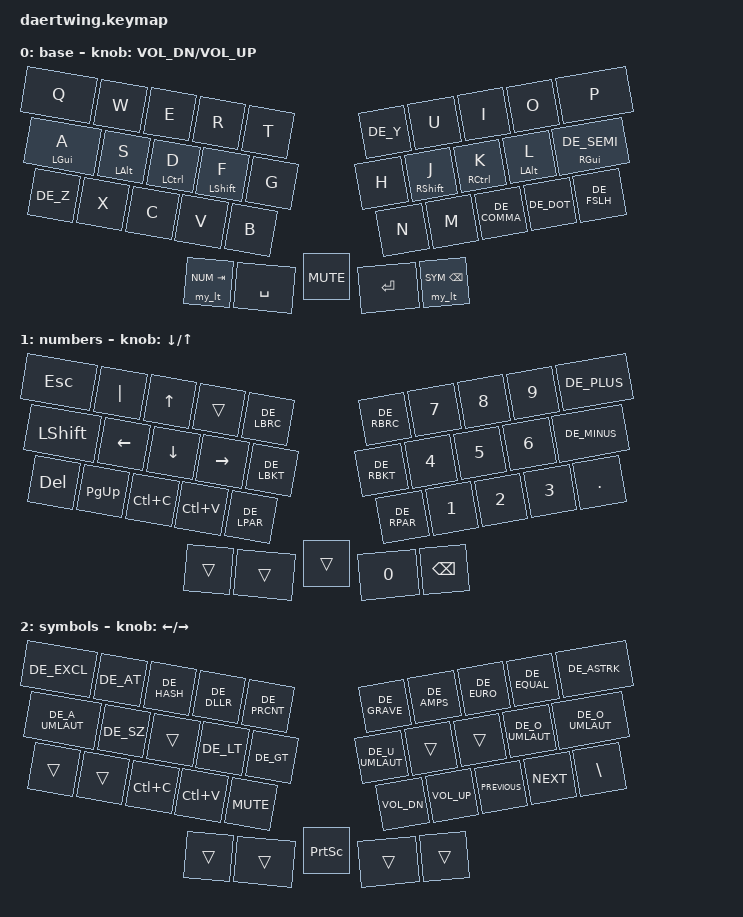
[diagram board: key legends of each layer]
#include <behaviors.dtsi>
#include <dt-bindings/zmk/keys.h>
#include <locale/keys_de.h>

#define BASE 0
#define NUM  1
#define SYM  2

&caps_word {
    continue-list = <UNDERSCORE MINUS BSPC LSHFT RSHFT>;
};

/ {
    macros {
        macro_shiftable_sch: macro_shiftable_sch {
            compatible = "zmk,behavior-macro";
            #binding-cells = <0>;
            bindings = <
                    &macro_tap &kp S
                    &macro_release &kp RSHIFT
                    &macro_tap &kp C &kp H
            >;
            tap-ms = <10>;
        };
    };
};


#define COMBO(NAME, BINDINGS, KEYPOS) \
combo_##NAME { \
    timeout-ms = <20>; \
    bindings = <BINDINGS>; \
    key-positions = <KEYPOS>; \
};
#define SLOWCOMBO(NAME, BINDINGS, KEYPOS) \
combo_##NAME { \
    timeout-ms = <60>; \
    bindings = <BINDINGS>; \
    key-positions = <KEYPOS>; \
};
#define TCOMBO(NAME, BINDINGS, KEYPOS, TIMEOUT) \
combo_##NAME { \
    timeout-ms = <TIMEOUT>; \
    bindings = <BINDINGS>; \
    key-positions = <KEYPOS>; \
};

//  _______________________________________________________________________________
// |_    00  \  01  \  02  \  03  \  04  \   /  05  /  06  /  07  /  08  /  09    _|
//   |_   10  |  11  |  12  |  13  |  14  | |  15  |  16  |  17  |  18  |  19   _|
//     | 20  /  21  /  22  /  23  /  24  /   \  25  \  26  \  27  \  28  \  29 |
//      -------------------|  30  |  31 | ENC | 33  |  34  |-------------------
//                                         32

/{
    combos {
        compatible = "zmk,combos";
/* usually on base layer */
        COMBO(boot, &bootloader, 0 9)
        COMBO(ESC, &kp ESC, 0 1)
        SLOWCOMBO(AMPS, &kp DE_AMPS, 4 14)
        COMBO(CAPS, &caps_word, 10 19)
        COMBO(shiftablesch, &macro_shiftable_sch, 1 3)
        SLOWCOMBO(pipe, &kp DE_PIPE, 5 15)
        COMBO(singlequote, &kp DE_SQT, 7 8)
        COMBO(doublequote, &kp DE_DQT, 8 9)
        COMBO(symlayer, &sl SYM, 10 11)
        COMBO(plus, &kp DE_PLUS, 16 17)
        COMBO(minus, &kp DE_MINUS, 17 18)
        SLOWCOMBO(underscore, &kp DE_UNDER, 16 17 18)
        SLOWCOMBO(delete, &kp DEL, 20 21)
        SLOWCOMBO(backslash, &kp DE_BSLH, 26 27)
        SLOWCOMBO(equal, &kp DE_EQUAL, 27 28)
        SLOWCOMBO(questionmark, &kp DE_QMARK, 28 29)
        SLOWCOMBO(enter, &kp ENTER, 16 18)
/* whitespace etc */
        // COMBO(tab, &kp TAB, 5 6)
        // COMBO(esc, &kp ESC, 22 23)
        // COMBO(enter, &kp ENTER, 26 28)
/* deletion */
        // COMBO(bspc, &kp BSPC, 6 7)
        // SLOWCOMBO(del, &kp DEL, 7 8)
        COMBO(delword, &kp LC(BSPC), 18 19)
/* special shifting */
        // COMBO(loss, &sk LSFT, 11 13)
        // COMBO(ross, &sk RSFT, 16 18)
        // COMBO(capslock, &kp CAPSLOCK, 1 8)
/* Studio Unlock */
        COMBO(studiounlock, &studio_unlock, 9 19)
    };
};

//  _______________________________________________________________________________
// |_    00  \  01  \  02  \  03  \  04  \   /  05  /  06  /  07  /  08  /  09    _|
//   |_   10  |  11  |  12  |  13  |  14  | |  15  |  16  |  17  |  18  |  19   _|
//     | 20  /  21  /  22  /  23  /  24  /   \  25  \  26  \  27  \  28  \  29 |
//      -------------------|  30  |  31 | ENC | 32  |  33  |-------------------

/ {
    behaviors {
        hl: homerow_mods_left {
            compatible = "zmk,behavior-hold-tap";
            #binding-cells = <2>;
            flavor = "balanced";
            tapping-term-ms = <150>;
            quick-tap-ms = <100>;
            bindings = <&kp>, <&kp>;
            // opposite side hand keys
            hold-trigger-key-positions = <5 6 7 8 9 15 16 17 18 19 25 26 27 28 29 30 31 32 33>;
        };
        hr: homerow_mods_right {
            compatible = "zmk,behavior-hold-tap";
            #binding-cells = <2>;
            flavor = "balanced";
            tapping-term-ms = <150>;
            quick-tap-ms = <100>;
            bindings = <&kp>, <&kp>;
            // opposite side hand keys
            hold-trigger-key-positions = <0 1 2 3 4 10 11 12 13 14 20 21 22 23 24 30 31 32 33>;
        };

         my_lt: my_layer_taps {
            compatible = "zmk,behavior-hold-tap";
            #binding-cells = <2>;
            flavor = "tap-preferred";
            tapping-term-ms = <160>;
            quick-tap-ms = <100>;
            bindings = <&mo &kp>, <&kp>;
        };
/*         dotcol: dot_colon {
            compatible = "zmk,behavior-mod-morph";
            #binding-cells = <0>;
            bindings = <&kp DOT>, <&kp COLON>;
            mods = <(MOD_LSFT|MOD_RSFT)>;
        };
        comsem: comma_semicolon {
            compatible = "zmk,behavior-mod-morph";
            #binding-cells = <0>;
            bindings = <&kp COMMA>, <&kp SEMI>;
            mods = <(MOD_LSFT|MOD_RSFT)>;
        }; */
    };
};


/ {
    keymap {
        compatible = "zmk,keymap";

        base {
            bindings = <
                &kp Q          &kp W          &kp E          &kp R          &kp T                      &kp DE_Y         &kp U          &kp I          &kp O          &kp P
                &hl LGUI A     &hl LALT S     &hl LCTRL D    &hl LSHFT F    &kp G                      &kp H            &hr RSHFT J    &hr RCTRL K    &hr LALT L     &hr RGUI DE_SEMI
                &kp DE_Z       &kp X          &kp C          &kp V          &kp B                      &kp N            &kp M          &kp DE_COMMA   &kp DE_DOT     &kp DE_FSLH
                                                             &my_lt NUM TAB &kp SPACE    &kp C_MUTE    &kp ENTER        &my_lt SYM BSPC
            >;
            sensor-bindings = <&inc_dec_kp C_VOL_DN C_VOL_UP >;
        };
        numbers {
            bindings = <
                &kp ESC      &kp PIPE        &kp UP           &trans             &kp DE_LBRC            &kp DE_RBRC         &kp N7       &kp N8       &kp N9         &kp DE_PLUS
                &kp LSHFT    &kp LEFT        &kp DOWN         &kp RIGHT          &kp DE_LBKT            &kp DE_RBKT         &kp N4       &kp N5       &kp N6         &kp DE_MINUS
                &kp DEL      &kp PAGE_UP     &kp LC(C)        &kp LC(V)          &kp DE_LPAR            &kp DE_RPAR         &kp N1       &kp N2       &kp N3         &kp DOT 
                                                              &trans             &trans        &trans   &kp N0              &kp BSPC                                 
            >;
            sensor-bindings = <&inc_dec_kp DOWN UP>;
        };
        symbols {
            bindings = <
                &kp DE_EXCL     &kp DE_AT     &kp DE_HASH    &kp DE_DLLR       &kp DE_PRCNT         &kp DE_GRAVE    &kp DE_AMPS     &kp DE_EURO     &kp DE_EQUAL      &kp DE_ASTRK         
                &kp DE_A_UMLAUT &kp DE_SZ     &trans         &kp DE_LT         &kp DE_GT            &kp DE_U_UMLAUT &trans          &trans          &kp DE_O_UMLAUT   &kp DE_O_UMLAUT
                &trans          &trans        &kp LC(C)      &kp LC(V)         &kp C_MUTE           &kp C_VOL_DN    &kp C_VOL_UP    &kp C_PREVIOUS  &kp C_NEXT        &kp BACKSLASH
                                                             &trans            &trans       &kp PRINTSCREEN        &trans      &trans                                                
            >;
            sensor-bindings = <&inc_dec_kp LEFT RIGHT>;
        };
    };
};
